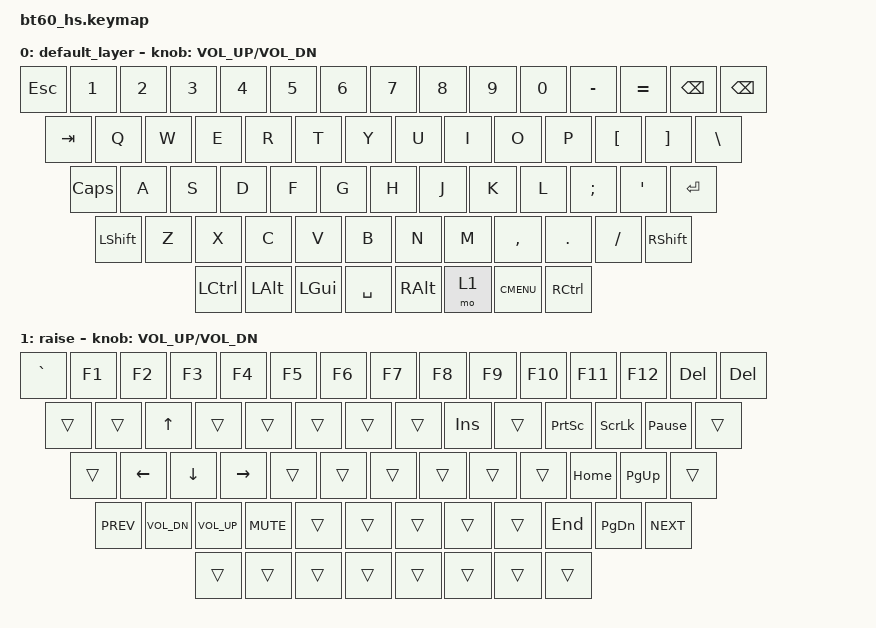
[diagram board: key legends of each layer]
#include <behaviors.dtsi>
#include <dt-bindings/zmk/keys.h>
#include <dt-bindings/zmk/bt.h>

/ {
    keymap {
        compatible = "zmk,keymap";

        default_layer {
            bindings = <
                &kp ESC &kp N1 &kp N2 &kp N3 &kp N4 &kp N5 &kp N6 &kp N7 &kp  N8   &kp  N9 &kp  N0  &kp MINUS &kp EQUAL &kp BSPC &kp BSPC
                &kp TAB  &kp Q  &kp W  &kp E  &kp R  &kp T  &kp Y  &kp U  &kp  I    &kp  O  &kp  P   &kp LBKT &kp RBKT  &kp BSLH
                &kp CLCK  &kp A  &kp S  &kp D  &kp F  &kp G  &kp H  &kp J  &kp  K    &kp  L  &kp SEMI &kp SQT           &kp RET
                &kp LSHFT  &kp Z  &kp X  &kp C  &kp V  &kp B  &kp N  &kp M  &kp COMMA &kp DOT &kp FSLH             &kp RSHFT
                &kp LCTRL &kp LALT &kp LGUI            &kp SPACE                          &kp RALT  &mo 1 &kp K_CMENU &kp RCTRL
            >;
            sensor-bindings = <&inc_dec_kp C_VOL_UP C_VOL_DN>;
        };
        raise {
            bindings = <
                &kp GRAVE &kp F1 &kp F2 &kp F3 &kp F4 &kp F5 &kp F6 &kp F7 &kp  F8   &kp  F9 &kp  F10  &kp F11 &kp F12   &kp DEL &kp DEL
                &trans &trans &kp UP &trans &trans &trans &trans &trans &kp INS &trans &kp PSCRN &kp SLCK &kp PAUSE_BREAK &trans
                &trans    &kp LEFT &kp DOWN &kp RIGHT &trans &trans &trans &trans &trans &trans &kp HOME  &kp PG_UP   &trans
                &kp C_PREV &kp C_VOL_DN &kp C_VOL_UP &kp C_MUTE &trans &trans &trans &trans &trans &kp END &kp PG_DN  &kp C_NEXT
                &trans &trans  &trans              &trans                            &trans   &trans   &trans &trans
            >;
            sensor-bindings = <&inc_dec_kp C_VOL_UP C_VOL_DN>;
        };
    };
};
